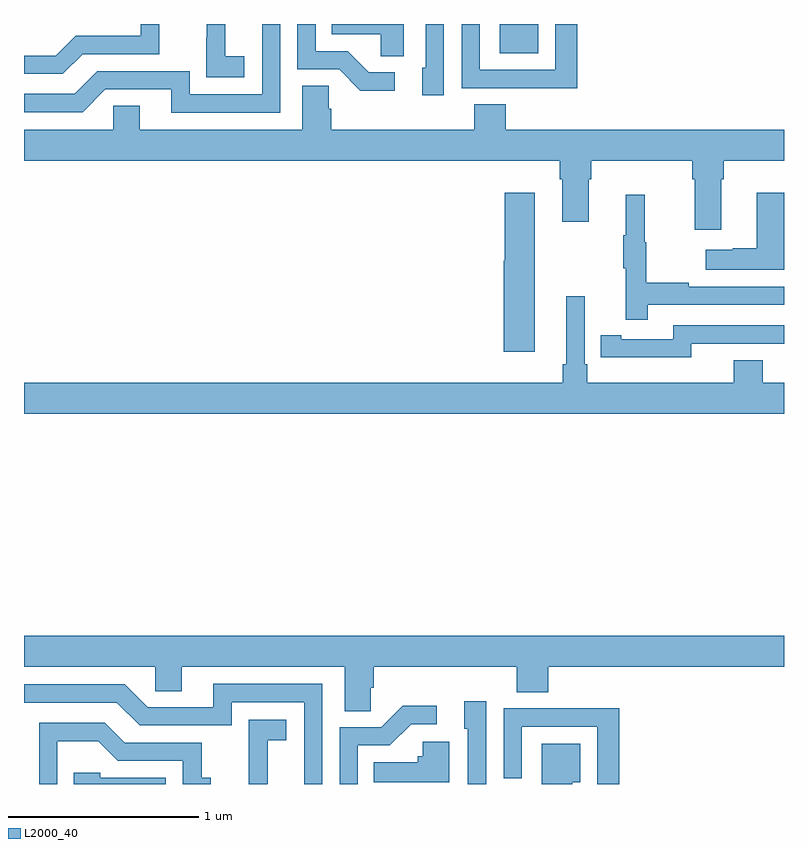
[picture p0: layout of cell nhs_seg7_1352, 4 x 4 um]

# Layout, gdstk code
import gdstk
lib = gdstk.Library(unit=1e-6, precision=1e-09)
def R(c, l, rs):  # rectangles x0, y0, x1, y1
    for r in rs: c.add(gdstk.rectangle(r[:2], r[2:], *l))
def P(c, l, *ps):  # polygons
    for p in ps: c.add(gdstk.Polygon(p, *l))
L2000_40 = (2000, 40)

nhs_seg7_1352 = lib.new_cell('nhs_seg7_1352')
R(nhs_seg7_1352, L2000_40, [(207.503,1003.847,207.706,1004)])
P(nhs_seg7_1352, L2000_40, [(206.95,1003.746),(206.815,1003.746),(206.704,1003.857),(206.535,1003.857),(206.535,1004),(206.439,1004),(206.439,1003.761),(206.658,1003.761),(206.771,1003.649),(206.95,1003.649)],
  [(206.998,1004),(206.62,1004),(206.62,1003.946),(206.877,1003.946),(206.877,1003.831),(206.998,1003.831)],
  [(207.911,1004),(207.795,1004),(207.795,1003.758),(207.399,1003.758),(207.399,1004),(207.303,1004),(207.303,1003.662),(207.619,1003.662),(207.619,1003.661),(207.911,1003.661)],
  [(207.21,1004),(207.114,1004),(207.114,1003.77),(207.095,1003.77),(207.095,1003.626),(207.21,1003.626)],
  [(206.349,1004),(206.253,1004),(206.253,1003.629),(205.872,1003.629),(205.872,1003.752),(205.386,1003.752),(205.266,1003.632),(205,1003.632),(205,1003.536),(205.308,1003.536),(205.428,1003.656),(205.775,1003.656),(205.775,1003.533),(206.349,1003.533)],
  [(205.309,1003.842),(205.713,1003.842),(205.713,1004),(205.614,1004),(205.614,1003.938),(205.272,1003.938),(205.168,1003.834),(205,1003.834),(205,1003.737),(205.204,1003.737)],
  [(206.158,1003.831),(206.06,1003.831),(206.06,1004),(205.961,1004),(205.961,1003.927),(205.96,1003.927),(205.96,1003.721),(206.158,1003.721)],
  [(207.536,1003.577),(207.371,1003.577),(207.371,1003.444),(206.618,1003.444),(206.618,1003.553),(206.604,1003.553),(206.604,1003.676),(206.465,1003.676),(206.465,1003.444),(205.609,1003.444),(205.609,1003.571),(205.47,1003.571),(205.47,1003.444),(205,1003.444),(205,1003.28),(207.821,1003.28),(207.821,1003.184),(207.833,1003.184),(207.833,1002.96),(207.973,1002.96),(207.973,1003.184),(207.986,1003.184),(207.986,1003.28),(208.517,1003.28),(208.517,1003.184),(208.529,1003.184),(208.529,1002.918),(208.669,1002.918),(208.669,1003.184),(208.682,1003.184),(208.682,1003.28),(209,1003.28),(209,1003.444),(207.536,1003.444)],
  [(209,1003.111),(208.856,1003.111),(208.856,1002.821),(208.73,1002.821),(208.73,1002.811),(208.587,1002.811),(208.587,1002.707),(209,1002.707)],
  [(207.688,1003.111),(207.53,1003.111),(207.53,1002.753),(207.524,1002.753),(207.524,1002.276),(207.688,1002.276)],
  [(208.283,1002.522),(209,1002.522),(209,1002.618),(208.499,1002.618),(208.499,1002.638),(208.276,1002.638),(208.276,1002.852),(208.268,1002.852),(208.268,1003.102),(208.166,1003.102),(208.166,1002.889),(208.155,1002.889),(208.155,1002.715),(208.166,1002.715),(208.166,1002.444),(208.283,1002.444)],
  [(209,1002.112),(208.889,1002.112),(208.889,1002.229),(208.736,1002.229),(208.736,1002.112),(207.965,1002.112),(207.965,1002.208),(207.951,1002.208),(207.951,1002.568),(207.854,1002.568),(207.854,1002.208),(207.835,1002.208),(207.835,1002.112),(205,1002.112),(205,1001.948),(209,1001.948)],
  [(208.512,1002.318),(208.972,1002.318),(208.972,1002.317),(209,1002.317),(209,1002.414),(208.416,1002.414),(208.416,1002.342),(208.144,1002.342),(208.144,1002.362),(208.036,1002.362),(208.036,1002.246),(208.144,1002.246),(208.144,1002.245),(208.512,1002.245)],
  [(206.826,1000.507),(206.84,1000.507),(206.84,1000.616),(207.593,1000.616),(207.593,1000.483),(207.758,1000.483),(207.758,1000.616),(209,1000.616),(209,1000.78),(205,1000.78),(205,1000.616),(205.692,1000.616),(205.692,1000.489),(205.831,1000.489),(205.831,1000.616),(206.687,1000.616),(206.687,1000.384),(206.826,1000.384)],
  [(206.571,1000.527),(205.997,1000.527),(205.997,1000.404),(205.65,1000.404),(205.53,1000.524),(205,1000.524),(205,1000.428),(205.488,1000.428),(205.608,1000.308),(206.094,1000.308),(206.094,1000.431),(206.475,1000.431),(206.475,1000),(206.571,1000)],
  [(207.432,1000.435),(207.317,1000.435),(207.317,1000.29),(207.336,1000.29),(207.336,1000),(207.432,1000)],
  [(206.757,1000.203),(206.926,1000.203),(207.037,1000.314),(207.172,1000.314),(207.172,1000.412),(206.993,1000.412),(206.88,1000.299),(206.661,1000.299),(206.661,1000),(206.757,1000)],
  [(208.133,1000.4),(207.841,1000.4),(207.841,1000.398),(207.525,1000.398),(207.525,1000.029),(207.621,1000.029),(207.621,1000.302),(208.017,1000.302),(208.017,1000),(208.133,1000)],
  [(206.28,1000.001),(206.282,1000.001),(206.282,1000.229),(206.38,1000.229),(206.38,1000.339),(206.182,1000.339),(206.182,1000.133),(206.183,1000.133),(206.183,1000),(206.28,1000)],
  [(205.176,1000.226),(205.39,1000.226),(205.494,1000.122),(205.836,1000.122),(205.836,1000),(205.984,1000),(205.984,1000.033),(205.935,1000.033),(205.935,1000.218),(205.531,1000.218),(205.426,1000.323),(205.08,1000.323),(205.08,1000),(205.176,1000)],
  [(207.238,1000.222),(207.099,1000.222),(207.099,1000.146),(207.073,1000.146),(207.073,1000.114),(206.842,1000.114),(206.842,1000.01),(207.238,1000.01)],
  [(207.886,1000.01),(207.928,1000.01),(207.928,1000.213),(207.725,1000.213),(207.725,1000),(207.886,1000)],
  [(205.746,1000.032),(205.401,1000.032),(205.401,1000.059),(205.261,1000.059),(205.261,1000),(205.746,1000)])

lib.write_gds('nhs_seg7_1352.gds')
